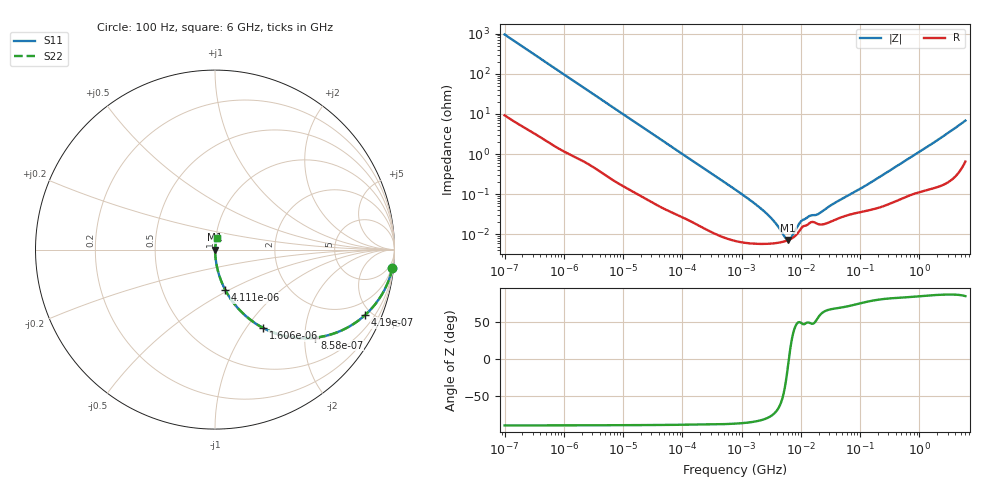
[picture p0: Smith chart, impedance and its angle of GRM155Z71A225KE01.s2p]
!Murata Part Number: GRM155Z71A225KE01
!These Parameters are Measured in Series Mode Connection
!Data Generated on Mar 30, 2021
!  o--ll--o
!Port1  Port2
!  o------o
!Operation Temp=25[degC], DC Bias Voltage=0[V]
!Freq. Start=100[Hz] Stop=6[GHz] 401[Steps]
# Hz S RI R 50
!Freq.(Hz) S11(Real) S11(Imag) S21(Real) S21(Imag) S12(Real) S12(Imag) S22(Real) S22(Imag)
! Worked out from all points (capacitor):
!   401 points, 100 Hz to 6 GHz, reference 50 ohm
!   read as one part in series: C = 1.67 uF near 109 Hz
!   lowest |Z| = 7.28 mohm at 6.075 MHz (marker M1)
!   series resonance near 6.292 MHz, so ESL is about 380 pH
!   S11 on the Smith chart (normalised r, x): 100 Hz: 1, -19; 419 Hz: 1.05, -4.58; 858 Hz: 1.03, -2.25; 1.606 kHz: 1.02, -1.21; 4.111 kHz: 1.01, -0.48; 6 GHz: 1.01, +0.14
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100  0.9881 -0.1038  0.0119 0.1038  0.0119 0.1038  0.9881 -0.1038
224  0.9459 -0.221  0.0541 0.221  0.0541 0.221  0.9459 -0.221
419  0.8372 -0.3637  0.1628 0.3637  0.1628 0.3637  0.8372 -0.3637
858  0.5577 -0.4908  0.4423 0.4908  0.4423 0.4908  0.5577 -0.4908
1606  0.2698 -0.4371  0.7302 0.4371  0.7302 0.4371  0.2698 -0.4371
2008  0.1929 -0.3875  0.8071 0.3875  0.8071 0.3875  0.1929 -0.3875
4111  0.0567 -0.2237  0.9433 0.2237  0.9433 0.2237  0.0567 -0.2237
11009  0.00941 -0.0887  0.9906 0.0887  0.9906 0.0887  0.00941 -0.0887
40335  0.00112 -0.0248  0.9989 0.0248  0.9989 0.0248  0.00112 -0.0248
774597  7.07e-05 -0.00132  0.9999 0.00132  0.9999 0.00132  7.07e-05 -0.00132
2481164  5.84e-05 -0.000357  0.9999 0.000357  0.9999 0.000357  5.84e-05 -0.000357
3394479  5.98e-05 -0.00022  0.9999 0.00022  0.9999 0.00022  5.98e-05 -0.00022
5079039  6.6e-05 -7.3e-05  0.9999 7.3e-05  0.9999 7.3e-05  6.6e-05 -7.3e-05
6075234  7.18e-05 -1.19e-05  0.9999 1.19e-05  0.9999 1.19e-05  7.18e-05 -1.19e-05
7266822  8.21e-05 5.02e-05  0.9999 -5.02e-05  0.9999 -5.02e-05  8.21e-05 5.02e-05
1.039699e7  0.000149 0.000164  0.9999 -0.000164  0.9999 -0.000164  0.000149 0.000164
1.555665e7  0.000205 0.000222  0.9998 -0.000222  0.9998 -0.000222  0.000205 0.000222
2.035112e7  0.000178 0.00028  0.9998 -0.00028  0.9998 -0.00028  0.000178 0.00028
3.482834e7  0.00022 0.000528  0.9998 -0.000528  0.9998 -0.000528  0.00022 0.000528
1.115611e8  0.000373 0.00145  0.9996 -0.00145  0.9996 -0.00145  0.000373 0.00145
3.124326e8  0.000589 0.00379  0.9994 -0.00379  0.9994 -0.00379  0.000589 0.00379
6e9  0.011 0.0667  0.989 -0.0667  0.989 -0.0667  0.011 0.0667
